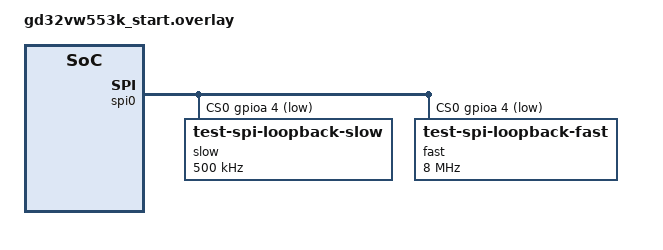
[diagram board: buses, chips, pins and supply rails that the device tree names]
/*
 * Copyright (c) 2026 Jorge Guzman
 *
 * SPDX-License-Identifier: Apache-2.0
 */

#include <zephyr/dt-bindings/gpio/gpio.h>
#include <dt-bindings/pinctrl/gd32vw553k(m)xx-pinctrl.h>

&pinctrl {
	spi0_default: spi0_default {
		group1 {
			pinmux = <SPI_SCK_PA2>, <SPI_MOSI_PA0>;
		};
		group2 {
			pinmux = <SPI_MISO_PA1>;
			bias-pull-up;
		};
	};
};

&spi0 {
	status = "okay";
	pinctrl-0 = <&spi0_default>;
	pinctrl-names = "default";
	cs-gpios = <&gpioa 4 GPIO_ACTIVE_LOW>;

	slow@0 {
		compatible = "test-spi-loopback-slow";
		reg = <0>;
		spi-max-frequency = <500000>;
	};

	fast@0 {
		compatible = "test-spi-loopback-fast";
		reg = <0>;
		spi-max-frequency = <8000000>;
	};
};
